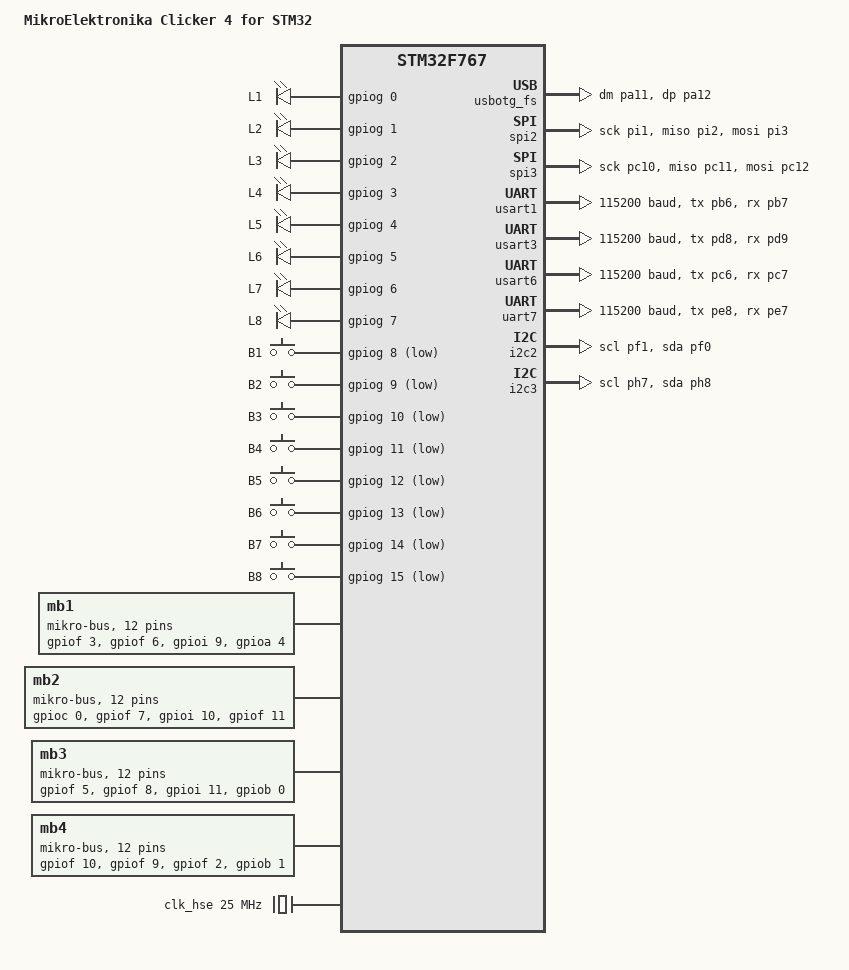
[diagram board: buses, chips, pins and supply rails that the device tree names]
/dts-v1/;
#include <st/f7/stm32f767Xi.dtsi>
#include <st/f7/stm32f767b(g-i)tx-pinctrl.dtsi>
#include <zephyr/dt-bindings/input/input-event-codes.h>

/ {
	model = "MikroElektronika Clicker 4 for STM32";
	compatible = "mikroe,clicker4-stm32", "st,stm32f767";
    aliases {
        led0 = &led1;
        led1 = &led2;
        led2 = &led3;
        led3 = &led4;
        led4 = &led5;
        led5 = &led6;
        led6 = &led7;
        led7 = &led8;
    };
	chosen {
		zephyr,sram = &sram0;
		zephyr,flash = &flash0;
		zephyr,code-partition = &slot0_partition;
		// zephyr,console = &cdc_acm_uart0; for usb port
		zephyr,console = &usart1; // for MD2, connect logic analyzer
	};

	leds {
		compatible = "gpio-leds";
		led1: led_0 { label = "L1"; gpios = <&gpiog 0 GPIO_ACTIVE_HIGH>; };
		led2: led_1 { label = "L2"; gpios = <&gpiog 1 GPIO_ACTIVE_HIGH>; };
		led3: led_2 { label = "L3"; gpios = <&gpiog 2 GPIO_ACTIVE_HIGH>; };
		led4: led_3 { label = "L4"; gpios = <&gpiog 3 GPIO_ACTIVE_HIGH>; };
		led5: led_4 { label = "L5"; gpios = <&gpiog 4 GPIO_ACTIVE_HIGH>; };
		led6: led_5 { label = "L6"; gpios = <&gpiog 5 GPIO_ACTIVE_HIGH>; };
		led7: led_6 { label = "L7"; gpios = <&gpiog 6 GPIO_ACTIVE_HIGH>; };
		led8: led_7 { label = "L8"; gpios = <&gpiog 7 GPIO_ACTIVE_HIGH>; };
	};              

	keys {
		compatible = "gpio-keys";
		btn1: button_0 { label = "B1"; status = "okay"; gpios = <&gpiog 8 GPIO_ACTIVE_LOW>; zephyr,code = <INPUT_KEY_0>; };
		btn2: button_1 { label = "B2"; status = "okay"; gpios = <&gpiog 9 GPIO_ACTIVE_LOW>; zephyr,code = <INPUT_KEY_1>; };
		btn3: button_2 { label = "B3"; status = "okay"; gpios = <&gpiog 10 GPIO_ACTIVE_LOW>; zephyr,code = <INPUT_KEY_2>; };
		btn4: button_3 { label = "B4"; status = "okay"; gpios = <&gpiog 11 GPIO_ACTIVE_LOW>; zephyr,code = <INPUT_KEY_3>; };
		btn5: button_4 { label = "B5"; status = "okay"; gpios = <&gpiog 12 GPIO_ACTIVE_LOW>; zephyr,code = <INPUT_KEY_4>; };
		btn6: button_5 { label = "B6"; status = "okay"; gpios = <&gpiog 13 GPIO_ACTIVE_LOW>; zephyr,code = <INPUT_KEY_5>; };
		btn7: button_6 { label = "B7"; status = "okay"; gpios = <&gpiog 14 GPIO_ACTIVE_LOW>; zephyr,code = <INPUT_KEY_6>; };
		btn8: button_7 { label = "B8"; status = "okay"; gpios = <&gpiog 15 GPIO_ACTIVE_LOW>; zephyr,code = <INPUT_KEY_7>; };
	};

	connectors {
		mb1: mikrobus_1 {
			compatible = "mikro-bus";
			#gpio-cells = <2>;
			gpio-map-mask = <0xffffffff 0xffffffc0>;
			gpio-map-pass-thru = <0 0x3f>;
			gpio-map =
				< 0 0 &gpiof  3 0>,	<16 0 &gpiof  6 0>,	// AN	- PWM
				< 1 0 &gpioi  9 0>,	<15 0 &gpioa  4 0>,	// RST	- INT
				< 2 0 &gpioc  3 0>,	<14 0 &gpiod  9 0>,	// CS	- RX
				< 3 0 &gpioi  1 0>,	<13 0 &gpiod  8 0>,	// SCK	- TX
				< 4 0 &gpioi  2 0>,	<12 0 &gpiof  1 0>,	// MISO	- SCL
				< 5 0 &gpioi  3 0>,	<11 0 &gpiof  0 0>;	// MOSI	- SDA
														// 3.3V	- 5V
														// GND	- GND
		};

		mb2: mikrobus_2 {
			compatible = "mikro-bus";
			#gpio-cells = <2>;
			gpio-map-mask = <0xffffffff 0xffffffc0>;
			gpio-map-pass-thru = <0 0x3f>;
			gpio-map =
				< 0 0 &gpioc  0 0>,	<16 0 &gpiof  7 0>,	// AN	- PWM
				< 1 0 &gpioi 10 0>,	<15 0 &gpiof 11 0>,	// RST	- INT
				< 2 0 &gpioh  2 0>,	<14 0 &gpiob  7 0>,	// CS	- RX
				< 3 0 &gpioi  1 0>,	<13 0 &gpiob  6 0>,	// SCK	- TX
				< 4 0 &gpioi  2 0>,	<12 0 &gpiof  1 0>,	// MISO	- SCL
				< 5 0 &gpioi  3 0>,	<11 0 &gpiof  0 0>;	// MOSI	- SDA
										// 3.3V	- 5V
										// GND	- GND
		};

		mb3: mikrobus_3 {
			compatible = "mikro-bus";
			#gpio-cells = <2>;
			gpio-map-mask = <0xffffffff 0xffffffc0>;
			gpio-map-pass-thru = <0 0x3f>;
			gpio-map =
				< 0 0 &gpiof  5 0>,	<16 0 &gpiof  8 0>,	// AN	- PWM
				< 1 0 &gpioi 11 0>,	<15 0 &gpiob  0 0>,	// RST	- INT
				< 2 0 &gpioh  3 0>,	<14 0 &gpioc  7 0>,	// CS	- RX
				< 3 0 &gpioc 10 0>,	<13 0 &gpioc  6 0>,	// SCK	- TX
				< 4 0 &gpioc 11 0>,	<12 0 &gpioh  7 0>,	// MISO	- SCL
				< 5 0 &gpioc 12 0>,	<11 0 &gpioh  8 0>;	// MOSI	- SDA
										// 3.3V	- 5V
										// GND	- GND
		};

		mb4: mikrobus_4 {
			compatible = "mikro-bus";
			#gpio-cells = <2>;
			gpio-map-mask = <0xffffffff 0xffffffc0>;
			gpio-map-pass-thru = <0 0x3f>;
			gpio-map =
				< 0 0 &gpiof 10 0>,	<16 0 &gpiof  9 0>,	// AN	- PWM
				< 1 0 &gpiof  2 0>,	<15 0 &gpiob  1 0>,	// RST	- INT
				< 2 0 &gpioh  4 0>,	<14 0 &gpioe  7 0>,	// CS	- RX
				< 3 0 &gpioc 10 0>,	<13 0 &gpioe  8 0>,	// SCK	- TX
				< 4 0 &gpioc 11 0>,	<12 0 &gpioh  7 0>,	// MISO	- SCL
				< 5 0 &gpioc 12 0>,	<11 0 &gpioh  8 0>;	// MOSI	- SDA
										// 3.3V	- 5V
										// GND	- GND
		};
	};

};


// -------------------------------------------------------------
// FLASH

&flash0 {
	partitions {
		compatible = "fixed-partitions";
		#address-cells = <1>;
		#size-cells = <1>;

                /*
                 * The two sectors 0-1 (32+32 kbytes) are reserved for
                 * the bootloader.
                 */
                boot_partition: partition@0 {
                        reg = <0x0 DT_SIZE_K(64)>;
                        read-only;
                };

                /*
                 * The flash starting at offset 0x10000 and ending at
                 * offset 0x1ffff is reserved for use by the application.
                 * This represents sectors 2-3 (32+32 kbytes)
                 */
                storage_partition: partition@10000 {
                        reg = <0x00010000 DT_SIZE_K(64)>;
                };

                /*
                 * Sector 4 (128 kbytes) unallocated.
                 */

                /*
                 * Allocated 3 (256k x 3) sectors for image-0. Sectors 5-7.
                 */
                slot0_partition: partition@40000 {
                        reg = <0x00040000 DT_SIZE_K(768)>;
                };

                /*
                 * Allocated 3 (256k x 3) sectors for image-1. Sectors 8-10.
                 */
                slot1_partition: partition@100000 {
                        reg = <0x00100000 DT_SIZE_K(768)>;
                };

                /*
                 * Allocated 1 (256k) sector for image-scratch. Sector 11.
                 */
                scratch_partition: partition@1C0000 {
                        reg = <0x001C0000 DT_SIZE_K(256)>;
                };
	};
};


// -------------------------------------------------------------
// CLOCK

&clk_lsi {
	status = "okay";
};

&clk_hse {
	clock-frequency = <DT_FREQ_M(25)>; /* 25MHz clock */
	status = "okay";
};

&pll {
    div-m = <25>; /* PLLM: divide HSE by 25 */
    mul-n = <432>; /* PLLN: multiply by 432 */
    div-p = <2>; /* PLLP: divide by 2 */
    div-q = <9>; /* PLLQ: divide by 9 (for USB clock) */
    clocks = <&clk_hse>;
    status = "okay";
};

&rcc {
	clocks = <&pll>;
	clock-frequency = <DT_FREQ_M(216)>; /* 216MHz system clock */
	ahb-prescaler = <1>; /* AHB prescaler */
	apb1-prescaler = <4>; /* APB1 prescaler */
	apb2-prescaler = <2>; /* APB2 prescaler */
	status = "okay";
};

// -------------------------------------------------------------
// USB

zephyr_udc0: &usbotg_fs {
    pinctrl-0 = <&usb_otg_fs_dm_pa11 &usb_otg_fs_dp_pa12>;
    pinctrl-names = "default";
    status = "okay";

    cdc_acm_uart0: cdc_acm_uart0 {
        compatible = "zephyr,cdc-acm-uart";
        label = "CDC_ACM_0";
        status = "okay";
    };
};

// -------------------------------------------------------------
// SPI

&spi2 {
	pinctrl-0 = <&spi2_sck_pi1 &spi2_miso_pi2 &spi2_mosi_pi3>; // SCK MISO MOSI
	pinctrl-names = "default";
	cs-gpios = <&gpioc 3 (GPIO_ACTIVE_LOW | GPIO_PULL_UP)>;
	status = "okay";
}; // MB1, MB2

&spi3 {
	pinctrl-0 = <&spi3_sck_pc10 &spi3_miso_pc11 &spi3_mosi_pc12>; // SCK MISO MOSI
	pinctrl-names = "default";
	cs-gpios = <&gpioh 3 (GPIO_ACTIVE_LOW | GPIO_PULL_UP)>;
	status = "okay";
}; // MB3, MB4

// -------------------------------------------------------------
// UART

&usart1 {
	pinctrl-0 = <&usart1_tx_pb6 &usart1_rx_pb7>;
	pinctrl-names = "default";
	current-speed = <115200>;
	status = "okay";
}; // MB2

&usart3 {
	pinctrl-0 = <&usart3_tx_pd8 &usart3_rx_pd9>;
	pinctrl-names = "default";
	current-speed = <115200>;
	status = "okay";
}; // MB1

&usart6 {
	pinctrl-0 = <&usart6_tx_pc6 &usart6_rx_pc7>;
	pinctrl-names = "default";
	current-speed = <115200>;
	status = "okay";
}; // MB3

&uart7 {
	pinctrl-0 = <&uart7_tx_pe8 &uart7_rx_pe7>;
	pinctrl-names = "default";
	current-speed = <115200>;
	status = "okay";
}; // MB4

// -------------------------------------------------------------
// I2C

&i2c2 {
	pinctrl-0 = <&i2c2_scl_pf1 &i2c2_sda_pf0>; // SCL SDA
	pinctrl-names = "default";
	// clock-frequency = <I2C_BITRATE_FAST>;
	status = "okay";
}; // MB1, MB2

&i2c3 {
	pinctrl-0 = <&i2c3_scl_ph7 &i2c3_sda_ph8>; // SCL SDA
	pinctrl-names = "default";
	// clock-frequency = <I2C_BITRATE_FAST>;
	status = "okay";
}; // MB3, MB4
